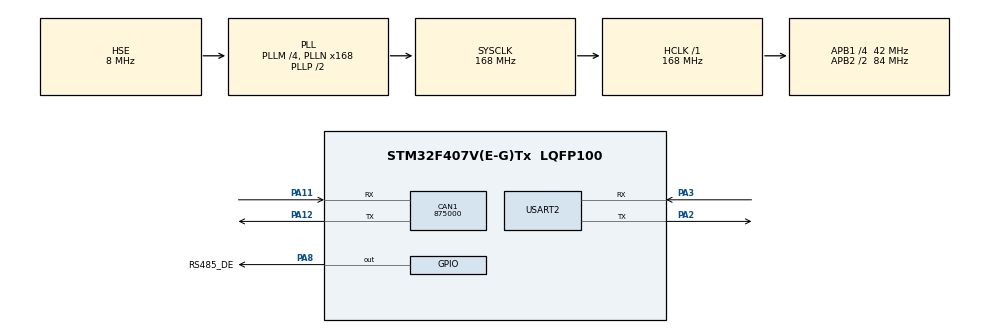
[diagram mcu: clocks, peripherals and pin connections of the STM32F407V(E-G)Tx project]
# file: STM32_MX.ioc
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CAN1.CalculateBaudRate=875000
CAN1.CalculateTimeBit=1142
CAN1.CalculateTimeQuantum=380.95238095238096
Mcu.Family=STM32F4
Mcu.Name=STM32F407V(E-G)Tx
Mcu.Package=LQFP100
NVIC.PriorityGroup=NVIC_PRIORITYGROUP_4
NVIC.USART2_IRQn=true\:0\:0\:false\:false\:true\:true\:true\:true
PA11.Mode=CAN_Activate
PA11.Signal=CAN1_RX
PA12.Mode=CAN_Activate
PA12.Signal=CAN1_TX
PA2.Mode=Asynchronous
PA2.Signal=USART2_TX
PA3.Mode=Asynchronous
PA3.Signal=USART2_RX
PA8.GPIO_Label=RS485_DE
PA8.Signal=GPIO_Output
PH0-OSC_IN.Mode=HSE-External-Oscillator
PH0-OSC_IN.Signal=RCC_OSC_IN
PH1-OSC_OUT.Mode=HSE-External-Oscillator
PH1-OSC_OUT.Signal=RCC_OSC_OUT
ProjectManager.HeapSize=0x200
ProjectManager.StackSize=0x400
ProjectManager.TargetToolchain=STM32CubeIDE
RCC.48MHZClocksFreq_Value=84000000
RCC.AHBFreq_Value=168000000
RCC.APB1CLKDivider=RCC_HCLK_DIV4
RCC.APB1Freq_Value=42000000
RCC.APB1TimFreq_Value=84000000
RCC.APB2CLKDivider=RCC_HCLK_DIV2
RCC.APB2Freq_Value=84000000
RCC.APB2TimFreq_Value=168000000
RCC.CortexFreq_Value=168000000
RCC.EnbaleCSS=true
RCC.HCLKFreq_Value=168000000
RCC.HSE_VALUE=8000000
RCC.HSI_VALUE=16000000
RCC.LSE_VALUE=32768
RCC.PLLM=4
RCC.PLLN=168
RCC.PLLSourceVirtual=RCC_PLLSOURCE_HSE
RCC.SYSCLKFreq_VALUE=168000000
RCC.SYSCLKSource=RCC_SYSCLKSOURCE_PLLCLK
RCC.VCOOutputFreq_Value=336000000
USART2.VirtualMode=VM_ASYNC
board=custom

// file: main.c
/* USER CODE BEGIN Header */
/**
  ******************************************************************************
  * @file           : main.c
  * @brief          : Main program body
  ******************************************************************************
  * @attention
  *
  * Copyright (c) 2026 STMicroelectronics.
  * All rights reserved.
  *
  * This software is licensed under terms that can be found in the LICENSE file
  * in the root directory of this software component.
  * If no LICENSE file comes with this software, it is provided AS-IS.
  *
  ******************************************************************************
  */
/* USER CODE END Header */
#include "main.h"

/* USER CODE BEGIN Includes */
#include "modbus_crc.h"
#include "modbus_parser.h"
#include "can_mapping.h"
#include <stdbool.h>
/* USER CODE END Includes */

CAN_HandleTypeDef hcan1;

UART_HandleTypeDef huart2;

/* USER CODE BEGIN PV */
uint8_t rx_byte;
uint8_t modbus_rx_buffer[64];
volatile uint16_t modbus_rx_index = 0;
volatile bool modbus_frame_ready = false;

CAN_TxHeaderTypeDef can_tx_header;
CAN_RxHeaderTypeDef can_rx_header;
uint8_t can_tx_data[8];
uint8_t can_rx_data[8];
uint32_t can_tx_mailbox;
/* USER CODE END PV */

void SystemClock_Config(void);
static void MX_GPIO_Init(void);
static void MX_CAN1_Init(void);
static void MX_USART2_UART_Init(void);

int main(void)
{

  /* MCU Configuration--------------------------------------------------------*/

  /* Reset of all peripherals, Initializes the Flash interface and the Systick. */
  HAL_Init();

  /* Configure the system clock */
  SystemClock_Config();

  /* Initialize all configured peripherals */
  MX_GPIO_Init();
  MX_CAN1_Init();
  MX_USART2_UART_Init();

  /* USER CODE BEGIN 2 */
  HAL_UART_Receive_IT(&huart2, &rx_byte, 1);

  CAN_FilterTypeDef can_filter;
  can_filter.FilterBank = 0;
  can_filter.FilterMode = CAN_FILTERMODE_IDMASK;
  can_filter.FilterScale = CAN_FILTERSCALE_32BIT;
  can_filter.FilterIdHigh = 0x0000;
  can_filter.FilterIdLow = 0x0000;
  can_filter.FilterMaskIdHigh = 0x0000;
  can_filter.FilterMaskIdLow = 0x0000;
  can_filter.FilterFIFOAssignment = CAN_RX_FIFO0;
  can_filter.FilterActivation = ENABLE;
  HAL_CAN_ConfigFilter(&hcan1, &can_filter);

  HAL_CAN_Start(&hcan1);
  HAL_CAN_ActivateNotification(&hcan1, CAN_IT_RX_FIFO0_MSG_PENDING);
  /* USER CODE END 2 */

  /* Infinite loop */
  /* USER CODE BEGIN WHILE */
  while (1)
  {
    if (modbus_frame_ready)
    {
        modbus_frame_ready = false;

        ModbusRequest req;
        if (modbus_parse_request(modbus_rx_buffer, modbus_rx_index, &req))
        {
            uint32_t can_id;
            if (can_mapping_lookup(req.register_addr, &can_id))
            {
                can_tx_header.StdId = can_id;
                can_tx_header.IDE = CAN_ID_STD;
                can_tx_header.RTR = CAN_RTR_DATA;
                can_tx_header.DLC = 2;
                can_tx_data[0] = (req.value_or_count >> 8) & 0xFF;
                can_tx_data[1] = req.value_or_count & 0xFF;

                HAL_CAN_AddTxMessage(&hcan1, &can_tx_header, can_tx_data, &can_tx_mailbox);
            }
        }

        modbus_rx_index = 0;
    }

    /* USER CODE END WHILE */

  }
}

void SystemClock_Config(void)
{
  RCC_OscInitTypeDef RCC_OscInitStruct = {0};
  RCC_ClkInitTypeDef RCC_ClkInitStruct = {0};

  /** Configure the main internal regulator output voltage
  */
  __HAL_RCC_PWR_CLK_ENABLE();
  __HAL_PWR_VOLTAGESCALING_CONFIG(PWR_REGULATOR_VOLTAGE_SCALE1);

  /** Initializes the RCC Oscillators according to the specified parameters
  * in the RCC_OscInitTypeDef structure.
  */
  RCC_OscInitStruct.OscillatorType = RCC_OSCILLATORTYPE_HSE;
  RCC_OscInitStruct.HSEState = RCC_HSE_ON;
  RCC_OscInitStruct.PLL.PLLState = RCC_PLL_ON;
  RCC_OscInitStruct.PLL.PLLSource = RCC_PLLSOURCE_HSE;
  RCC_OscInitStruct.PLL.PLLM = 4;
  RCC_OscInitStruct.PLL.PLLN = 168;
  RCC_OscInitStruct.PLL.PLLP = RCC_PLLP_DIV2;
  RCC_OscInitStruct.PLL.PLLQ = 4;
  if (HAL_RCC_OscConfig(&RCC_OscInitStruct) != HAL_OK)
  {
    Error_Handler();
  }

  /** Initializes the CPU, AHB and APB buses clocks
  */
  RCC_ClkInitStruct.ClockType = RCC_CLOCKTYPE_HCLK|RCC_CLOCKTYPE_SYSCLK
                              |RCC_CLOCKTYPE_PCLK1|RCC_CLOCKTYPE_PCLK2;
  RCC_ClkInitStruct.SYSCLKSource = RCC_SYSCLKSOURCE_PLLCLK;
  RCC_ClkInitStruct.AHBCLKDivider = RCC_SYSCLK_DIV1;
  RCC_ClkInitStruct.APB1CLKDivider = RCC_HCLK_DIV4;
  RCC_ClkInitStruct.APB2CLKDivider = RCC_HCLK_DIV2;

  if (HAL_RCC_ClockConfig(&RCC_ClkInitStruct, FLASH_LATENCY_5) != HAL_OK)
  {
    Error_Handler();
  }

  /** Enables the Clock Security System
  */
  HAL_RCC_EnableCSS();
}

static void MX_CAN1_Init(void)
{

  hcan1.Instance = CAN1;
  hcan1.Init.Prescaler = 6;
  hcan1.Init.Mode = CAN_MODE_NORMAL;
  hcan1.Init.SyncJumpWidth = CAN_SJW_1TQ;
  hcan1.Init.TimeSeg1 = CAN_BS1_11TQ;
  hcan1.Init.TimeSeg2 = CAN_BS2_2TQ;
  hcan1.Init.TimeTriggeredMode = DISABLE;
  hcan1.Init.AutoBusOff = DISABLE;
  hcan1.Init.AutoWakeUp = DISABLE;
  hcan1.Init.AutoRetransmission = DISABLE;
  hcan1.Init.ReceiveFifoLocked = DISABLE;
  hcan1.Init.TransmitFifoPriority = DISABLE;
  if (HAL_CAN_Init(&hcan1) != HAL_OK)
  {
    Error_Handler();
  }

}

static void MX_USART2_UART_Init(void)
{

  huart2.Instance = USART2;
  huart2.Init.BaudRate = 115200;
  huart2.Init.WordLength = UART_WORDLENGTH_8B;
  huart2.Init.StopBits = UART_STOPBITS_1;
  huart2.Init.Parity = UART_PARITY_NONE;
  huart2.Init.Mode = UART_MODE_TX_RX;
  huart2.Init.HwFlowCtl = UART_HWCONTROL_NONE;
  huart2.Init.OverSampling = UART_OVERSAMPLING_16;
  if (HAL_UART_Init(&huart2) != HAL_OK)
  {
    Error_Handler();
  }

}

static void MX_GPIO_Init(void)
{
  GPIO_InitTypeDef GPIO_InitStruct = {0};

  /* GPIO Ports Clock Enable */
  __HAL_RCC_GPIOH_CLK_ENABLE();
  __HAL_RCC_GPIOA_CLK_ENABLE();

  /*Configure GPIO pin Output Level */
  HAL_GPIO_WritePin(RS485_DE_GPIO_Port, RS485_DE_Pin, GPIO_PIN_RESET);

  /*Configure GPIO pin : RS485_DE_Pin */
  GPIO_InitStruct.Pin = RS485_DE_Pin;
  GPIO_InitStruct.Mode = GPIO_MODE_OUTPUT_PP;
  GPIO_InitStruct.Pull = GPIO_NOPULL;
  GPIO_InitStruct.Speed = GPIO_SPEED_FREQ_LOW;
  HAL_GPIO_Init(RS485_DE_GPIO_Port, &GPIO_InitStruct);

}

/* USER CODE BEGIN 4 */
void HAL_UART_RxCpltCallback(UART_HandleTypeDef *huart)
{
    if (huart->Instance == USART2)
    {
        if (modbus_rx_index < sizeof(modbus_rx_buffer))
        {
            modbus_rx_buffer[modbus_rx_index++] = rx_byte;
        }

        if (modbus_rx_index >= 8)
        {
            modbus_frame_ready = true;
        }

        HAL_UART_Receive_IT(huart, &rx_byte, 1);
    }
}

void HAL_CAN_RxFifo0MsgPendingCallback(CAN_HandleTypeDef *hcan)
{
    if (HAL_CAN_GetRxMessage(hcan, CAN_RX_FIFO0, &can_rx_header, can_rx_data) == HAL_OK)
    {
        uint16_t modbus_reg;
        if (can_mapping_reverse_lookup(can_rx_header.StdId, &modbus_reg))
        {
            uint16_t received_value = ((uint16_t)can_rx_data[0] << 8) | can_rx_data[1];

            uint8_t response_buf[16];
            uint16_t response_len = modbus_build_read_response(1, &received_value, 1, response_buf);

            HAL_GPIO_WritePin(RS485_DE_GPIO_Port, RS485_DE_Pin, GPIO_PIN_SET);
            HAL_UART_Transmit(&huart2, response_buf, response_len, 100);
            HAL_GPIO_WritePin(RS485_DE_GPIO_Port, RS485_DE_Pin, GPIO_PIN_RESET);
        }
    }
}
/* USER CODE END 4 */

void Error_Handler(void)
{
  __disable_irq();
  while (1)
  {
  }
}
